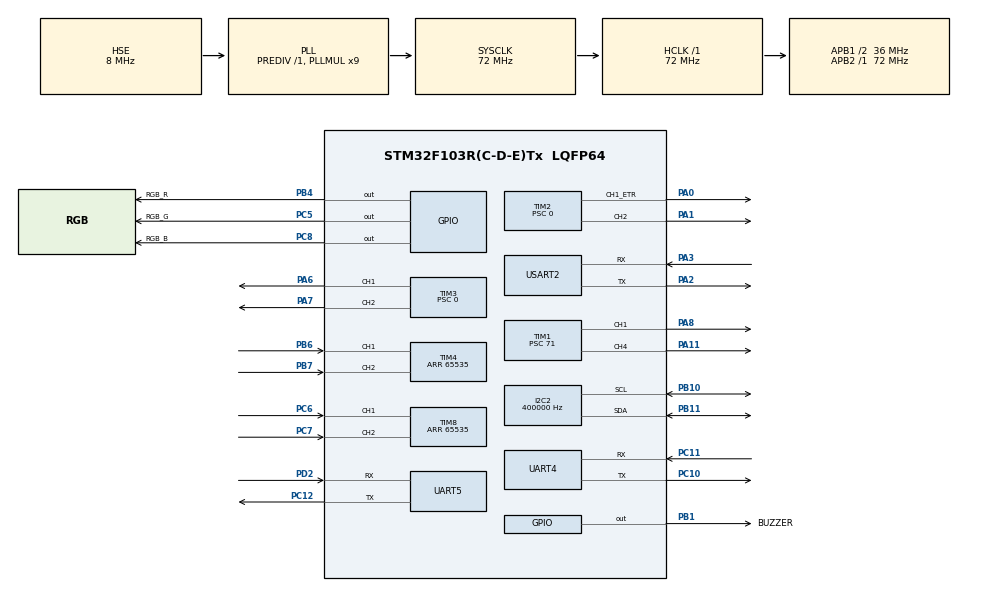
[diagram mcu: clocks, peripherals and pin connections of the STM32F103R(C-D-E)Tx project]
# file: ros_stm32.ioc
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Mcu.Family=STM32F1
Mcu.Name=STM32F103R(C-D-E)Tx
Mcu.Package=LQFP64
NVIC.PriorityGroup=NVIC_PRIORITYGROUP_4
NVIC.USART2_IRQn=true\:5\:0\:true\:false\:true\:true\:true\:true
I2C2.ClockSpeed=400000
IWDG.Prescaler=IWDG_PRESCALER_64
IWDG.Reload=624
PA0-WKUP.Mode=PWM Generation1 CH1
PA0-WKUP.Signal=S_TIM2_CH1_ETR
PA1.Mode=PWM Generation2 CH2
PA1.Signal=S_TIM2_CH2
PA2.Mode=Asynchronous
PA2.Signal=USART2_TX
PA3.Mode=Asynchronous
PA3.Signal=USART2_RX
PA6.Mode=PWM Generation1 CH1
PA6.Signal=S_TIM3_CH1
PA7.Mode=PWM Generation2 CH2
PA7.Signal=S_TIM3_CH2
PA8.Mode=PWM Generation1 CH1
PA8.Signal=TIM1_CH1
PA11.Mode=PWM Generation4 CH4
PA11.Signal=TIM1_CH4
PA13.Mode=Serial_Wire
PA13.Signal=SYS_JTMS-SWDIO
PA14.Mode=Serial_Wire
PA14.Signal=SYS_JTCK-SWCLK
PB1.GPIO_Label=BUZZER
PB1.Signal=GPIO_Output
PB4.GPIO_Label=RGB_R
PB4.Signal=GPIO_Output
PB6.Mode=Encoder_Interface
PB6.Signal=S_TIM4_CH1
PB7.Mode=Encoder_Interface
PB7.Signal=S_TIM4_CH2
PB10.Mode=I2C
PB10.Signal=I2C2_SCL
PB11.Mode=I2C
PB11.Signal=I2C2_SDA
PC5.GPIO_Label=RGB_G
PC5.Signal=GPIO_Output
PC6.Mode=Encoder_Interface
PC6.Signal=S_TIM8_CH1
PC7.Mode=Encoder_Interface
PC7.Signal=S_TIM8_CH2
PC8.GPIO_Label=RGB_B
PC8.Signal=GPIO_Output
PC10.Mode=Asynchronous
PC10.Signal=UART4_TX
PC11.Mode=Asynchronous
PC11.Signal=UART4_RX
PC12.Mode=Asynchronous
PC12.Signal=UART5_TX
PD0-OSC_IN.Mode=HSE-External-Oscillator
PD0-OSC_IN.Signal=RCC_OSC_IN
PD1-OSC_OUT.Mode=HSE-External-Oscillator
PD1-OSC_OUT.Signal=RCC_OSC_OUT
PD2.Mode=Asynchronous
PD2.Signal=UART5_RX
ProjectManager.TargetToolchain=MDK-ARM V5.32
ProjectManager.StackSize=0x400
ProjectManager.HeapSize=0x200
RCC.AHBFreq_Value=72000000
RCC.APB1Freq_Value=36000000
RCC.APB1TimFreq_Value=72000000
RCC.APB2Freq_Value=72000000
RCC.APB2TimFreq_Value=72000000
RCC.HCLKFreq_Value=72000000
RCC.PLLSourceVirtual=RCC_PLLSOURCE_HSE
RCC.SYSCLKFreq_VALUE=72000000
RCC.SYSCLKSource=RCC_SYSCLKSOURCE_PLLCLK
SYS.Debug=Serial Wire
TIM1.Channel-PWM Generation1 CH1=TIM_CHANNEL_1
TIM1.Channel-PWM Generation4 CH4=TIM_CHANNEL_4
TIM1.Period=19999
TIM1.Prescaler=71
TIM2.Channel-PWM Generation1 CH1=TIM_CHANNEL_1
TIM2.Channel-PWM Generation2 CH2=TIM_CHANNEL_2
TIM2.Period=899
TIM2.Prescaler=0
TIM3.Channel-PWM Generation1 CH1=TIM_CHANNEL_1
TIM3.Channel-PWM Generation2 CH2=TIM_CHANNEL_2
TIM3.Period=899
TIM3.Prescaler=0
TIM4.EncoderMode=TIM_ENCODERMODE_TI12
TIM4.IC1Filter=6
TIM4.IC2Filter=6
TIM4.Period=65535
TIM8.EncoderMode=TIM_ENCODERMODE_TI12
TIM8.IC1Filter=6
TIM8.IC2Filter=6
TIM8.Period=65535
UART4.VirtualMode=VM_ASYNC
UART5.VirtualMode=VM_ASYNC
USART2.VirtualMode=VM_ASYNC
board=custom

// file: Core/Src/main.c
/* USER CODE BEGIN Header */
/**
  ******************************************************************************
  * @file           : main.c
  * @brief          : Main program body
  ******************************************************************************
  * @attention
  *
  * Copyright (c) 2026 STMicroelectronics.
  * All rights reserved.
  *
  * This software is licensed under terms that can be found in the LICENSE file
  * in the root directory of this software component.
  * If no LICENSE file comes with this software, it is provided AS-IS.
  *
  ******************************************************************************
  */
/* USER CODE END Header */
#include "main.h"
#include "gpio.h"
#include "i2c.h"
#include "iwdg.h"
#include "tim.h"
#include "usart.h"

/* USER CODE BEGIN Includes */
#include "board_config.h"
#include "chassis_config.h"
#include "app_chassis.h"
#include "app_motor.h"
#include "app_odometry.h"
#include "app_uart.h"
#include "bsp_encoder.h"
#include "bsp_imu.h"
#include "bsp_motor.h"
#include "bsp_uart.h"
#include <stdio.h>

/* USER CODE END Includes */

/* USER CODE BEGIN PD */

#define HARDWARE_TEST_MODE_NORMAL          (0U)
#define HARDWARE_TEST_MODE_ENCODER_UART    (1U)
#define HARDWARE_TEST_MODE_IMU_UART        (2U)
#define HARDWARE_TEST_MODE_MOTOR_OPEN_LOOP (3U)
#define HARDWARE_TEST_MODE_MOTOR_CLOSED_LOOP (4U)
#define HARDWARE_TEST_MODE_CHASSIS_ROTATION  (5U)
#define HARDWARE_TEST_MODE                 HARDWARE_TEST_MODE_NORMAL
#define HARDWARE_TEST_UART_PERIOD_MS       (100U)
#define MOTOR_OPEN_LOOP_TEST_DUTY_PERCENT  (20)
#define MOTOR_OPEN_LOOP_TEST_ARM_MS        (5000U)
#define MOTOR_OPEN_LOOP_TEST_RUN_MS        (3000U)
#define MOTOR_CLOSED_LOOP_TEST_TARGET_M_S  (0.15f)
#define MOTOR_CLOSED_LOOP_TEST_ARM_MS      (5000U)
#define MOTOR_CLOSED_LOOP_TEST_RUN_MS      (10000U)
#define ROTATION_TEST_ANGULAR_RAD_S        (1.50f)
#define ROTATION_TEST_ARM_MS               (2000U)
#define ROTATION_TEST_RUN_MS               (4000U)

/* USER CODE END PD */

/* USER CODE BEGIN PV */

#if (HARDWARE_TEST_MODE == HARDWARE_TEST_MODE_IMU_UART)
static uint8_t imu_uart_test_ready;
#elif (HARDWARE_TEST_MODE == HARDWARE_TEST_MODE_CHASSIS_ROTATION)
static uint8_t rotation_test_imu_ready;
#endif

/* USER CODE END PV */

void SystemClock_Config(void);

/* USER CODE BEGIN 0 */

#if (HARDWARE_TEST_MODE == HARDWARE_TEST_MODE_ENCODER_UART)
static void encoder_uart_test_publish(int32_t left_count,
                                      int32_t right_count,
                                      int32_t left_delta,
                                      int32_t right_delta)
{
  char line[72];
  const int length = snprintf(line, sizeof(line),
                              "ENC L=%ld R=%ld DL=%ld DR=%ld\r\n",
                              (long)left_count, (long)right_count,
                              (long)left_delta, (long)right_delta);

  if ((length > 0) && ((size_t)length < sizeof(line)))
  {
    (void)uart_bsp_write((const uint8_t *)line, (uint16_t)length);
  }
}
#elif (HARDWARE_TEST_MODE == HARDWARE_TEST_MODE_IMU_UART)
static int32_t imu_uart_test_round(float value)
{
  return (int32_t)((value >= 0.0f) ? (value + 0.5f) : (value - 0.5f));
}

static void imu_uart_test_publish(const imu_sample_t *sample)
{
  char line[128];
  const int32_t accel_x_mg = imu_uart_test_round((sample->accel_m_s2[0] / 9.80665f) * 1000.0f);
  const int32_t accel_y_mg = imu_uart_test_round((sample->accel_m_s2[1] / 9.80665f) * 1000.0f);
  const int32_t accel_z_mg = imu_uart_test_round((sample->accel_m_s2[2] / 9.80665f) * 1000.0f);
  const int32_t gyro_x_mrad_s = imu_uart_test_round(sample->gyro_rad_s[0] * 1000.0f);
  const int32_t gyro_y_mrad_s = imu_uart_test_round(sample->gyro_rad_s[1] * 1000.0f);
  const int32_t gyro_z_mrad_s = imu_uart_test_round(sample->gyro_rad_s[2] * 1000.0f);
  const int32_t temperature_centi_c = imu_uart_test_round(sample->temperature_c * 100.0f);
  const int length = snprintf(line, sizeof(line),
                              "IMU AX=%ld AY=%ld AZ=%ld GX=%ld GY=%ld GZ=%ld T=%ld\r\n",
                              (long)accel_x_mg, (long)accel_y_mg, (long)accel_z_mg,
                              (long)gyro_x_mrad_s, (long)gyro_y_mrad_s,
                              (long)gyro_z_mrad_s, (long)temperature_centi_c);

  if ((length > 0) && ((size_t)length < sizeof(line)))
  {
    (void)uart_bsp_write((const uint8_t *)line, (uint16_t)length);
  }
}
#elif (HARDWARE_TEST_MODE == HARDWARE_TEST_MODE_MOTOR_OPEN_LOOP)
static int32_t motor_uart_test_round(float value)
{
  return (int32_t)((value >= 0.0f) ? (value + 0.5f) : (value - 0.5f));
}

static void motor_uart_test_publish(uint32_t elapsed_ms,
                                    uint8_t state,
                                    int32_t left_count,
                                    int32_t right_count,
                                    float left_velocity_m_s,
                                    float right_velocity_m_s)
{
  char line[112];
  const int32_t left_velocity_mm_s = motor_uart_test_round(left_velocity_m_s * 1000.0f);
  const int32_t right_velocity_mm_s = motor_uart_test_round(right_velocity_m_s * 1000.0f);
  const int length = snprintf(line, sizeof(line),
                              "MOTOR T=%lu STATE=%u DUTY=%d L=%ld R=%ld VL=%ld VR=%ld\r\n",
                              (unsigned long)elapsed_ms, (unsigned int)state,
                              (state == 1U) ? (int)MOTOR_OPEN_LOOP_TEST_DUTY_PERCENT : 0,
                              (long)left_count, (long)right_count,
                              (long)left_velocity_mm_s, (long)right_velocity_mm_s);

  if ((length > 0) && ((size_t)length < sizeof(line)))
  {
    (void)uart_bsp_write((const uint8_t *)line, (uint16_t)length);
  }
}
#elif (HARDWARE_TEST_MODE == HARDWARE_TEST_MODE_MOTOR_CLOSED_LOOP)
static int32_t closed_loop_uart_test_round(float value)
{
  return (int32_t)((value >= 0.0f) ? (value + 0.5f) : (value - 0.5f));
}

static void closed_loop_uart_test_publish(uint32_t elapsed_ms, uint8_t state)
{
  char line[128];
  const int32_t target_mm_s = (state == 1U) ? closed_loop_uart_test_round(MOTOR_CLOSED_LOOP_TEST_TARGET_M_S * 1000.0f) : 0;
  const int32_t left_velocity_mm_s = closed_loop_uart_test_round(
      app_motor_speed_meas_filtered_m_s_get(ENCODER_SIDE_LEFT) * 1000.0f);
  const int32_t right_velocity_mm_s = closed_loop_uart_test_round(
      app_motor_speed_meas_filtered_m_s_get(ENCODER_SIDE_RIGHT) * 1000.0f);
  const int32_t left_error_mm_s = closed_loop_uart_test_round(
      app_motor_last_speed_err_left_get() * 1000.0f);
  const int32_t right_error_mm_s = closed_loop_uart_test_round(
      app_motor_last_speed_err_right_get() * 1000.0f);
  const int32_t left_duty_tenths = closed_loop_uart_test_round(
      app_motor_last_duty_percent_get(ENCODER_SIDE_LEFT) * 10.0f);
  const int32_t right_duty_tenths = closed_loop_uart_test_round(
      app_motor_last_duty_percent_get(ENCODER_SIDE_RIGHT) * 10.0f);
  const int length = snprintf(line, sizeof(line),
                              "CLOSED T=%lu STATE=%u TARGET=%ld VL=%ld VR=%ld EL=%ld ER=%ld UL=%ld UR=%ld\r\n",
                              (unsigned long)elapsed_ms, (unsigned int)state,
                              (long)target_mm_s, (long)left_velocity_mm_s,
                              (long)right_velocity_mm_s, (long)left_error_mm_s,
                              (long)right_error_mm_s, (long)left_duty_tenths,
                              (long)right_duty_tenths);

  if ((length > 0) && ((size_t)length < sizeof(line)))
  {
    (void)uart_bsp_write((const uint8_t *)line, (uint16_t)length);
  }
}
#elif (HARDWARE_TEST_MODE == HARDWARE_TEST_MODE_CHASSIS_ROTATION)
static int32_t rotation_uart_test_round(float value)
{
  return (int32_t)((value >= 0.0f) ? (value + 0.5f) : (value - 0.5f));
}

static void rotation_uart_test_publish(uint32_t elapsed_ms,
                                       uint8_t state,
                                       float encoder_yaw_rad,
                                       float gyro_yaw_rad,
                                       const imu_sample_t *imu_sample,
                                       uint8_t imu_valid)
{
  char line[176];
  const odometry_context_t *odom = app_odometry_state_get();
  const int32_t left_velocity_mm_s = rotation_uart_test_round(
      app_motor_speed_meas_filtered_m_s_get(ENCODER_SIDE_LEFT) * 1000.0f);
  const int32_t right_velocity_mm_s = rotation_uart_test_round(
      app_motor_speed_meas_filtered_m_s_get(ENCODER_SIDE_RIGHT) * 1000.0f);
  const int32_t gyro_z_mrad_s = ((imu_valid != 0U) && (imu_sample != NULL)) ?
      rotation_uart_test_round(imu_sample->gyro_rad_s[2] * 1000.0f) : 0;
  const int32_t left_duty_tenths = rotation_uart_test_round(
      app_motor_last_duty_percent_get(ENCODER_SIDE_LEFT) * 10.0f);
  const int32_t right_duty_tenths = rotation_uart_test_round(
      app_motor_last_duty_percent_get(ENCODER_SIDE_RIGHT) * 10.0f);
  const int length = snprintf(
      line, sizeof(line),
      "ROT T=%lu STATE=%u TARGET=%ld VL=%ld VR=%ld ENC=%ld GYRO=%ld FUSED=%ld GZ=%ld UL=%ld UR=%ld IMU=%u\r\n",
      (unsigned long)elapsed_ms, (unsigned int)state,
      (long)rotation_uart_test_round(ROTATION_TEST_ANGULAR_RAD_S * 1000.0f),
      (long)left_velocity_mm_s, (long)right_velocity_mm_s,
      (long)rotation_uart_test_round(encoder_yaw_rad * 1000.0f),
      (long)rotation_uart_test_round(gyro_yaw_rad * 1000.0f),
      (long)rotation_uart_test_round(odom->yaw_rad * 1000.0f),
      (long)gyro_z_mrad_s, (long)left_duty_tenths,
      (long)right_duty_tenths, (unsigned int)imu_valid);

  if ((length > 0) && ((size_t)length < sizeof(line)))
  {
    (void)uart_bsp_write((const uint8_t *)line, (uint16_t)length);
  }
}
#endif

/* USER CODE END 0 */

int main(void)
{

  /* MCU Configuration--------------------------------------------------------*/

  /* Reset of all peripherals, Initializes the Flash interface and the Systick. */
  HAL_Init();

  /* Configure the system clock */
  SystemClock_Config();

  /* Initialize all configured peripherals */
  MX_GPIO_Init();
  MX_I2C2_Init();
  MX_IWDG_Init();
  MX_TIM1_Init();
  MX_TIM2_Init();
  MX_TIM3_Init();
  MX_TIM4_Init();
  MX_TIM8_Init();
  MX_USART2_UART_Init();
  MX_UART4_Init();
  MX_UART5_Init();

  /* USER CODE BEGIN 2 */
  encoder_bsp_init();
  app_motor_init();
#if (HARDWARE_TEST_MODE == HARDWARE_TEST_MODE_ENCODER_UART)
  /* Leave both motor outputs in coast mode so the wheels can be turned by hand. */
  motor_bsp_stop(MOTOR_LEFT, MOTOR_DIR_COAST);
  motor_bsp_stop(MOTOR_RIGHT, MOTOR_DIR_COAST);
  uart_bsp_init();
#elif (HARDWARE_TEST_MODE == HARDWARE_TEST_MODE_IMU_UART)
  /* Keep the chassis still and level while the IMU performs its startup calibration. */
  motor_bsp_stop(MOTOR_LEFT, MOTOR_DIR_COAST);
  motor_bsp_stop(MOTOR_RIGHT, MOTOR_DIR_COAST);
  uart_bsp_init();
  imu_uart_test_ready = imu_bsp_init();
  if (imu_uart_test_ready != 0U)
  {
    imu_uart_test_ready = imu_bsp_calibrate(BOARD_IMU_CALIBRATION_SAMPLES,
                                            BOARD_IMU_CALIBRATION_DELAY_MS);
  }
  if (imu_uart_test_ready != 0U)
  {
    (void)uart_bsp_write_str("IMU READY\r\n");
  }
  else
  {
    (void)uart_bsp_write_str("IMU ERROR INIT\r\n");
  }
#elif (HARDWARE_TEST_MODE == HARDWARE_TEST_MODE_MOTOR_OPEN_LOOP)
  /* The open-loop test starts only after the arming delay in the main loop. */
  app_motor_stop();
  uart_bsp_init();
#elif (HARDWARE_TEST_MODE == HARDWARE_TEST_MODE_MOTOR_CLOSED_LOOP)
  /* The closed-loop test starts only after the arming delay in the main loop. */
  app_motor_stop();
  app_motor_pid_reset();
  uart_bsp_init();
#elif (HARDWARE_TEST_MODE == HARDWARE_TEST_MODE_CHASSIS_ROTATION)
  app_motor_stop();
  app_motor_pid_reset();
  app_odometry_init();
  uart_bsp_init();
  rotation_test_imu_ready = imu_bsp_init();
  if (rotation_test_imu_ready != 0U)
  {
    rotation_test_imu_ready = imu_bsp_calibrate(BOARD_IMU_CALIBRATION_SAMPLES,
                                                BOARD_IMU_CALIBRATION_DELAY_MS);
  }
  if (rotation_test_imu_ready != 0U)
  {
    (void)uart_bsp_write_str("ROT READY\r\n");
  }
  else
  {
    (void)uart_bsp_write_str("ROT ERROR IMU\r\n");
  }
#else
  app_motor_stop();
  app_odometry_init();
  {
    const uint8_t imu_initialized = imu_bsp_init();
    const uint8_t imu_calibrated = (imu_initialized != 0U) ?
        imu_bsp_calibrate(BOARD_IMU_CALIBRATION_SAMPLES, BOARD_IMU_CALIBRATION_DELAY_MS) : 0U;
    car_uart_fault_set(CAR_FAULT_IMU, (imu_calibrated == 0U) ? 1U : 0U);
    uart_bsp_init();
#if CHASSIS_AUTONOMOUS_ENABLE
    app_chassis_init(imu_calibrated);
#endif
  }
#endif

  /* USER CODE END 2 */

  /* Infinite loop */
  /* USER CODE BEGIN WHILE */
  {
    //记录下对应的时间戳，计算时间间隔
#if (HARDWARE_TEST_MODE == HARDWARE_TEST_MODE_NORMAL)
    uint32_t last_control_tick = HAL_GetTick();
    uint32_t next_control_tick = last_control_tick + BOARD_CONTROL_PERIOD_MS;
#if !CHASSIS_AUTONOMOUS_ENABLE
    uint32_t next_telemetry_tick = HAL_GetTick() + BOARD_TELEMETRY_PERIOD_MS;
    uint8_t was_halted = 1U;
#endif
    imu_sample_t imu_sample = {0};
    uint8_t imu_sample_valid = 0U;
#elif (HARDWARE_TEST_MODE == HARDWARE_TEST_MODE_ENCODER_UART)
    uint32_t next_encoder_uart_tick = HAL_GetTick();
    int32_t previous_left_count = encoder_bsp_pulse_count_get(ENCODER_SIDE_LEFT);
    int32_t previous_right_count = encoder_bsp_pulse_count_get(ENCODER_SIDE_RIGHT);
#elif (HARDWARE_TEST_MODE == HARDWARE_TEST_MODE_IMU_UART)
    uint32_t next_imu_uart_tick = HAL_GetTick();
    imu_sample_t imu_uart_sample = {0};
#elif (HARDWARE_TEST_MODE == HARDWARE_TEST_MODE_MOTOR_OPEN_LOOP)
    const uint32_t motor_test_start_tick = HAL_GetTick();
    uint32_t next_motor_uart_tick = motor_test_start_tick;
    uint32_t previous_motor_sample_tick = motor_test_start_tick;
    uint8_t motor_test_stopped = 0U;
#elif (HARDWARE_TEST_MODE == HARDWARE_TEST_MODE_MOTOR_CLOSED_LOOP)
    const uint32_t closed_loop_test_start_tick = HAL_GetTick();
    uint32_t closed_loop_last_control_tick = closed_loop_test_start_tick;
    uint32_t closed_loop_next_control_tick = closed_loop_test_start_tick + BOARD_CONTROL_PERIOD_MS;
    uint32_t closed_loop_next_uart_tick = closed_loop_test_start_tick;
    uint8_t closed_loop_test_started = 0U;
    uint8_t closed_loop_test_stopped = 0U;
#else
    const uint32_t rotation_test_start_tick = HAL_GetTick();
    uint32_t rotation_last_control_tick = rotation_test_start_tick;
    uint32_t rotation_next_control_tick = rotation_test_start_tick + BOARD_CONTROL_PERIOD_MS;
    uint32_t rotation_next_uart_tick = rotation_test_start_tick;
    int32_t rotation_previous_left_count = encoder_bsp_pulse_count_get(ENCODER_SIDE_LEFT);
    int32_t rotation_previous_right_count = encoder_bsp_pulse_count_get(ENCODER_SIDE_RIGHT);
    float rotation_encoder_yaw_rad = 0.0f;
    float rotation_gyro_yaw_rad = 0.0f;
    imu_sample_t rotation_imu_sample = {0};
    uint8_t rotation_imu_valid = 0U;
    uint8_t rotation_test_started = 0U;
    uint8_t rotation_test_stopped = 0U;
#endif

  while (1)
  {
    /* USER CODE END WHILE */

    /* USER CODE BEGIN 3 */

#if (HARDWARE_TEST_MODE == HARDWARE_TEST_MODE_NORMAL)
#if CHASSIS_AUTONOMOUS_ENABLE
    app_chassis_poll();
#else
    car_uart_command_poll();
#endif

    if ((int32_t)(HAL_GetTick() - next_control_tick) >= 0)
    {
      const uint32_t now = HAL_GetTick();
      const uint32_t elapsed_ms = now - last_control_tick;
      const float measurement_dt_sec = (elapsed_ms != 0U) ?
          ((float)elapsed_ms / 1000.0f) : BOARD_CONTROL_DT_MIN_SEC;
      float pid_dt_sec = measurement_dt_sec;
      last_control_tick = now;
      if (pid_dt_sec < BOARD_CONTROL_DT_MIN_SEC) pid_dt_sec = BOARD_CONTROL_DT_MIN_SEC;
      if (pid_dt_sec > BOARD_CONTROL_DT_MAX_SEC) pid_dt_sec = BOARD_CONTROL_DT_MAX_SEC;
      if ((uint32_t)(now - next_control_tick) >= BOARD_CONTROL_PERIOD_MS)
      {
        car_uart_fault_set(CAR_FAULT_CONTROL_LATE, 1U);
        next_control_tick = now + BOARD_CONTROL_PERIOD_MS;
      }
      else
      {
        next_control_tick += BOARD_CONTROL_PERIOD_MS;
      }
      encoder_bsp_velocity_sample(measurement_dt_sec);
      imu_sample_valid = imu_bsp_read(&imu_sample);
      car_uart_fault_set(CAR_FAULT_IMU, (imu_sample_valid == 0U) ? 1U : 0U);
      app_odometry_update(imu_sample.gyro_rad_s[2], imu_sample_valid, measurement_dt_sec);

#if CHASSIS_AUTONOMOUS_ENABLE
      app_chassis_control(measurement_dt_sec, pid_dt_sec, &imu_sample, imu_sample_valid);
#else
      if (car_uart_halted_get() != 0U)
      {
        if (was_halted == 0U)
        {
          app_motor_stop();
        }
        was_halted = 1U;
      }
      else
      {
        if (was_halted != 0U)
        {
          app_motor_pid_reset();
        }
        was_halted = 0U;
        app_motor_speed_control_update(pid_dt_sec);
      }
#endif
      /* Refresh only after the complete control iteration has run successfully. */
      (void)HAL_IWDG_Refresh(&hiwdg);
    }

#if !CHASSIS_AUTONOMOUS_ENABLE
    if ((int32_t)(HAL_GetTick() - next_telemetry_tick) >= 0)
    {
      next_telemetry_tick += BOARD_TELEMETRY_PERIOD_MS;
      car_uart_publish_telemetry(&imu_sample, imu_sample_valid);
    }
#endif

    __WFI();
#elif (HARDWARE_TEST_MODE == HARDWARE_TEST_MODE_ENCODER_UART)
    const uint32_t now = HAL_GetTick();

    if ((int32_t)(now - next_encoder_uart_tick) >= 0)
    {
      const int32_t left_count = encoder_bsp_pulse_count_get(ENCODER_SIDE_LEFT);
      const int32_t right_count = encoder_bsp_pulse_count_get(ENCODER_SIDE_RIGHT);
      encoder_uart_test_publish(left_count, right_count,
                                left_count - previous_left_count,
                                right_count - previous_right_count);
      previous_left_count = left_count;
      previous_right_count = right_count;
      next_encoder_uart_tick += HARDWARE_TEST_UART_PERIOD_MS;
      if ((int32_t)(now - next_encoder_uart_tick) >= 0)
      {
        next_encoder_uart_tick = now + HARDWARE_TEST_UART_PERIOD_MS;
      }
    }

    /* The encoder-only test still keeps the independent watchdog alive. */
    (void)HAL_IWDG_Refresh(&hiwdg);
    __WFI();
#elif (HARDWARE_TEST_MODE == HARDWARE_TEST_MODE_IMU_UART)
    const uint32_t now = HAL_GetTick();

    if ((int32_t)(now - next_imu_uart_tick) >= 0)
    {
      if ((imu_uart_test_ready != 0U) && (imu_bsp_read(&imu_uart_sample) != 0U))
      {
        imu_uart_test_publish(&imu_uart_sample);
      }
      else
      {
        (void)uart_bsp_write_str("IMU ERROR READ\r\n");
      }
      next_imu_uart_tick += HARDWARE_TEST_UART_PERIOD_MS;
      if ((int32_t)(now - next_imu_uart_tick) >= 0)
      {
        next_imu_uart_tick = now + HARDWARE_TEST_UART_PERIOD_MS;
      }
    }

    /* The IMU-only test still keeps the independent watchdog alive. */
    (void)HAL_IWDG_Refresh(&hiwdg);
    __WFI();
#elif (HARDWARE_TEST_MODE == HARDWARE_TEST_MODE_MOTOR_OPEN_LOOP)
    const uint32_t now = HAL_GetTick();
    const uint32_t motor_test_elapsed_ms = now - motor_test_start_tick;
    uint8_t motor_test_state;

    if (motor_test_elapsed_ms < MOTOR_OPEN_LOOP_TEST_ARM_MS)
    {
      motor_test_state = 0U;
    }
    else if (motor_test_elapsed_ms <
             (MOTOR_OPEN_LOOP_TEST_ARM_MS + MOTOR_OPEN_LOOP_TEST_RUN_MS))
    {
      motor_test_state = 1U;
      app_motor_set_differential_manual((float)MOTOR_OPEN_LOOP_TEST_DUTY_PERCENT,
                                        (float)MOTOR_OPEN_LOOP_TEST_DUTY_PERCENT);
    }
    else
    {
      motor_test_state = 2U;
      if (motor_test_stopped == 0U)
      {
        app_motor_stop();
        motor_test_stopped = 1U;
      }
    }

    if ((int32_t)(now - next_motor_uart_tick) >= 0)
    {
      const uint32_t sample_elapsed_ms = now - previous_motor_sample_tick;
      const float sample_dt_sec = (sample_elapsed_ms != 0U) ?
          ((float)sample_elapsed_ms / 1000.0f) :
          ((float)HARDWARE_TEST_UART_PERIOD_MS / 1000.0f);
      previous_motor_sample_tick = now;
      encoder_bsp_velocity_sample(sample_dt_sec);
      motor_uart_test_publish(motor_test_elapsed_ms, motor_test_state,
                              encoder_bsp_pulse_count_get(ENCODER_SIDE_LEFT),
                              encoder_bsp_pulse_count_get(ENCODER_SIDE_RIGHT),
                              encoder_bsp_velocity_m_s_get(ENCODER_SIDE_LEFT),
                              encoder_bsp_velocity_m_s_get(ENCODER_SIDE_RIGHT));
      next_motor_uart_tick += HARDWARE_TEST_UART_PERIOD_MS;
      if ((int32_t)(now - next_motor_uart_tick) >= 0)
      {
        next_motor_uart_tick = now + HARDWARE_TEST_UART_PERIOD_MS;
      }
    }

    /* The one-shot open-loop test still keeps the independent watchdog alive. */
    (void)HAL_IWDG_Refresh(&hiwdg);
    __WFI();
#elif (HARDWARE_TEST_MODE == HARDWARE_TEST_MODE_MOTOR_CLOSED_LOOP)
    const uint32_t now = HAL_GetTick();
    const uint32_t closed_loop_elapsed_ms = now - closed_loop_test_start_tick;
    uint8_t closed_loop_state;

    if (closed_loop_elapsed_ms < MOTOR_CLOSED_LOOP_TEST_ARM_MS)
    {
      closed_loop_state = 0U;
    }
    else if (closed_loop_elapsed_ms <
             (MOTOR_CLOSED_LOOP_TEST_ARM_MS + MOTOR_CLOSED_LOOP_TEST_RUN_MS))
    {
      closed_loop_state = 1U;
      if (closed_loop_test_started == 0U)
      {
        app_motor_pid_reset();
        app_motor_set_wheel_velocity_targets(MOTOR_CLOSED_LOOP_TEST_TARGET_M_S,
                                             MOTOR_CLOSED_LOOP_TEST_TARGET_M_S);
        closed_loop_test_started = 1U;
      }
    }
    else
    {
      closed_loop_state = 2U;
      if (closed_loop_test_stopped == 0U)
      {
        app_motor_stop();
        closed_loop_test_stopped = 1U;
      }
    }

    if ((int32_t)(now - closed_loop_next_control_tick) >= 0)
    {
      const uint32_t control_elapsed_ms = now - closed_loop_last_control_tick;
      const float measurement_dt_sec = (control_elapsed_ms != 0U) ?
          ((float)control_elapsed_ms / 1000.0f) : BOARD_CONTROL_DT_MIN_SEC;
      float pid_dt_sec = measurement_dt_sec;
      closed_loop_last_control_tick = now;
      if (pid_dt_sec < BOARD_CONTROL_DT_MIN_SEC) pid_dt_sec = BOARD_CONTROL_DT_MIN_SEC;
      if (pid_dt_sec > BOARD_CONTROL_DT_MAX_SEC) pid_dt_sec = BOARD_CONTROL_DT_MAX_SEC;
      closed_loop_next_control_tick += BOARD_CONTROL_PERIOD_MS;
      if ((int32_t)(now - closed_loop_next_control_tick) >= 0)
      {
        closed_loop_next_control_tick = now + BOARD_CONTROL_PERIOD_MS;
      }
      encoder_bsp_velocity_sample(measurement_dt_sec);
      if (closed_loop_state == 1U)
      {
        app_motor_speed_control_update(pid_dt_sec);
      }
    }

    if ((int32_t)(now - closed_loop_next_uart_tick) >= 0)
    {
      closed_loop_uart_test_publish(closed_loop_elapsed_ms, closed_loop_state);
      closed_loop_next_uart_tick += HARDWARE_TEST_UART_PERIOD_MS;
      if ((int32_t)(now - closed_loop_next_uart_tick) >= 0)
      {
        closed_loop_next_uart_tick = now + HARDWARE_TEST_UART_PERIOD_MS;
      }
    }

    /* The one-shot closed-loop test still keeps the independent watchdog alive. */
    (void)HAL_IWDG_Refresh(&hiwdg);
    __WFI();
#else
    const uint32_t now = HAL_GetTick();
    const uint32_t rotation_test_elapsed_ms = now - rotation_test_start_tick;
    uint8_t rotation_test_state;

    if (rotation_test_elapsed_ms < ROTATION_TEST_ARM_MS)
    {
      rotation_test_state = 0U;
    }
    else if (rotation_test_elapsed_ms < (ROTATION_TEST_ARM_MS + ROTATION_TEST_RUN_MS))
    {
      rotation_test_state = 1U;
      if (rotation_test_started == 0U)
      {
        app_motor_pid_reset();
        app_odometry_reset(0.0f, 0.0f, 0.0f);
        rotation_previous_left_count = encoder_bsp_pulse_count_get(ENCODER_SIDE_LEFT);
        rotation_previous_right_count = encoder_bsp_pulse_count_get(ENCODER_SIDE_RIGHT);
        rotation_encoder_yaw_rad = 0.0f;
        rotation_gyro_yaw_rad = 0.0f;
        app_motor_set_chassis_velocity(0.0f, ROTATION_TEST_ANGULAR_RAD_S);
        rotation_test_started = 1U;
      }
    }
    else
    {
      rotation_test_state = 2U;
      if (rotation_test_stopped == 0U)
      {
        app_motor_stop();
        rotation_test_stopped = 1U;
      }
    }

    if ((int32_t)(now - rotation_next_control_tick) >= 0)
    {
      const uint32_t control_elapsed_ms = now - rotation_last_control_tick;
      const float measurement_dt_sec = (control_elapsed_ms != 0U) ?
          ((float)control_elapsed_ms / 1000.0f) : BOARD_CONTROL_DT_MIN_SEC;
      float pid_dt_sec = measurement_dt_sec;
      rotation_last_control_tick = now;
      if (pid_dt_sec < BOARD_CONTROL_DT_MIN_SEC) pid_dt_sec = BOARD_CONTROL_DT_MIN_SEC;
      if (pid_dt_sec > BOARD_CONTROL_DT_MAX_SEC) pid_dt_sec = BOARD_CONTROL_DT_MAX_SEC;
      rotation_next_control_tick += BOARD_CONTROL_PERIOD_MS;
      if ((int32_t)(now - rotation_next_control_tick) >= 0)
      {
        rotation_next_control_tick = now + BOARD_CONTROL_PERIOD_MS;
      }

      encoder_bsp_velocity_sample(measurement_dt_sec);
      rotation_imu_valid = (rotation_test_imu_ready != 0U) ?
          imu_bsp_read(&rotation_imu_sample) : 0U;

      if (rotation_test_state == 1U)
      {
        const int32_t left_count = encoder_bsp_pulse_count_get(ENCODER_SIDE_LEFT);
        const int32_t right_count = encoder_bsp_pulse_count_get(ENCODER_SIDE_RIGHT);
        const int32_t left_delta_count = left_count - rotation_previous_left_count;
        const int32_t right_delta_count = right_count - rotation_previous_right_count;
        rotation_previous_left_count = left_count;
        rotation_previous_right_count = right_count;
        rotation_encoder_yaw_rad +=
            ((float)right_delta_count * BOARD_METERS_PER_COUNT_RIGHT -
             (float)left_delta_count * BOARD_METERS_PER_COUNT_LEFT) /
            BOARD_WHEEL_SEPARATION_M;
        if (rotation_imu_valid != 0U)
        {
          rotation_gyro_yaw_rad += rotation_imu_sample.gyro_rad_s[2] * measurement_dt_sec;
        }
        app_odometry_update(rotation_imu_sample.gyro_rad_s[2],
                            rotation_imu_valid, measurement_dt_sec);
        app_motor_speed_control_update(pid_dt_sec);
      }
      else
      {
        rotation_previous_left_count = encoder_bsp_pulse_count_get(ENCODER_SIDE_LEFT);
        rotation_previous_right_count = encoder_bsp_pulse_count_get(ENCODER_SIDE_RIGHT);
      }
    }

    if ((int32_t)(now - rotation_next_uart_tick) >= 0)
    {
      rotation_uart_test_publish(rotation_test_elapsed_ms, rotation_test_state,
                                 rotation_encoder_yaw_rad, rotation_gyro_yaw_rad,
                                 &rotation_imu_sample, rotation_imu_valid);
      rotation_next_uart_tick += HARDWARE_TEST_UART_PERIOD_MS;
      if ((int32_t)(now - rotation_next_uart_tick) >= 0)
      {
        rotation_next_uart_tick = now + HARDWARE_TEST_UART_PERIOD_MS;
      }
    }

    /* The one-shot rotation test still keeps the independent watchdog alive. */
    (void)HAL_IWDG_Refresh(&hiwdg);
    __WFI();
#endif
  }
  }
  /* USER CODE END 3 */
}

void SystemClock_Config(void)
{
  RCC_OscInitTypeDef RCC_OscInitStruct = {0};
  RCC_ClkInitTypeDef RCC_ClkInitStruct = {0};

  /** Initializes the RCC Oscillators according to the specified parameters
  * in the RCC_OscInitTypeDef structure.
  */
  RCC_OscInitStruct.OscillatorType = RCC_OSCILLATORTYPE_HSE;
  RCC_OscInitStruct.HSEState = RCC_HSE_ON;
  RCC_OscInitStruct.HSEPredivValue = RCC_HSE_PREDIV_DIV1;
  RCC_OscInitStruct.PLL.PLLState = RCC_PLL_ON;
  RCC_OscInitStruct.PLL.PLLSource = RCC_PLLSOURCE_HSE;
  RCC_OscInitStruct.PLL.PLLMUL = RCC_PLL_MUL9;
  if (HAL_RCC_OscConfig(&RCC_OscInitStruct) != HAL_OK)
  {
    Error_Handler();
  }

  /** Initializes the CPU, AHB and APB buses clocks
  */
  RCC_ClkInitStruct.ClockType = RCC_CLOCKTYPE_HCLK|RCC_CLOCKTYPE_SYSCLK
                              |RCC_CLOCKTYPE_PCLK1|RCC_CLOCKTYPE_PCLK2;
  RCC_ClkInitStruct.SYSCLKSource = RCC_SYSCLKSOURCE_PLLCLK;
  RCC_ClkInitStruct.AHBCLKDivider = RCC_SYSCLK_DIV1;
  RCC_ClkInitStruct.APB1CLKDivider = RCC_HCLK_DIV2;
  RCC_ClkInitStruct.APB2CLKDivider = RCC_HCLK_DIV1;

  if (HAL_RCC_ClockConfig(&RCC_ClkInitStruct, FLASH_LATENCY_2) != HAL_OK)
  {
    Error_Handler();
  }
}

void Error_Handler(void)
{
  __disable_irq();
  while (1)
  {
  }
}
